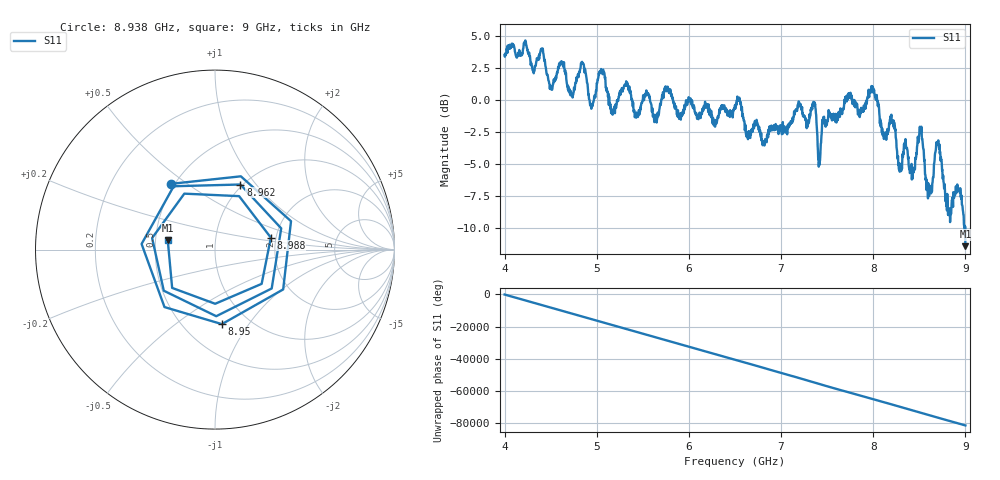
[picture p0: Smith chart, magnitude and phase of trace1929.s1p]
! Created with skrf 1.8.0 (http://scikit-rf.org).
# Hz S RI R 50.0
!freq ReS11 ImS11
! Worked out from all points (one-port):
!   1601 points, 4 GHz to 9 GHz, reference 50 ohm
!   lowest |S11| = -11.4 dB at 9 GHz (marker M1), VSWR 1.73, Z = 29 + j3.2 ohm
!   |S11| at or under -10 dB: 8.99188 GHz to 8.996361 GHz (4.481 MHz wide, 0.0498 % of centre); 8.997213 GHz to end of sweep
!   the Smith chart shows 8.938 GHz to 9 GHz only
!   S11 on the Smith chart (normalised r, x): 8.938 GHz: 0.48, +0.43; 8.95 GHz: 0.75, -0.76; 8.962 GHz: 0.98, +0.84; 8.988 GHz: 1.88, +0.28; 9 GHz: 0.58, +0.06
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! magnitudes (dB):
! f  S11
! 4 GHz  3.5
! 4.625 GHz  3.0
! 4.719 GHz  0.7
! 4.847 GHz  2.9
! 4.941 GHz  -0.7
! 5.047 GHz  2.4
! 5.162 GHz  -1.0
! 5.25 GHz  0.6
! 5.875 GHz  -1.3
! 6.5 GHz  -0.4
! 6.819 GHz  -3.6
! 7.125 GHz  -1.4
! 7.353 GHz  -0.2
! 7.416 GHz  -5.1
! 7.75 GHz  0.2
! 7.997 GHz  0.9
! 8.216 GHz  -1.9
! 8.288 GHz  -5.6
! 8.375 GHz  -4.3
! 8.519 GHz  -2.5
! 8.612 GHz  -7.1
! 8.703 GHz  -3.3
! 8.819 GHz  -9.0
! 8.938 GHz  -7.1
! 8.95 GHz  -7.6
! 8.962 GHz  -8.2
! 8.988 GHz  -9.9
! 9 GHz  -11.4
